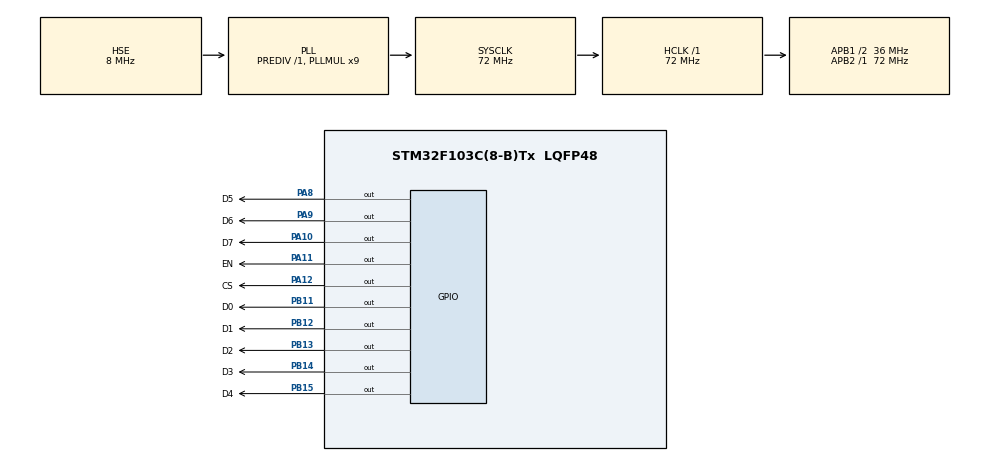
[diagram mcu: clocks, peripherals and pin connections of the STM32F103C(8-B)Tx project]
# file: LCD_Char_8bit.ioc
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Mcu.Family=STM32F1
RCC.PLLSourceVirtual=RCC_PLLSOURCE_HSE
PD1-OSC_OUT.Mode=HSE-External-Oscillator
PA9.GPIO_Label=D6
PB14.GPIO_Label=D3
PB11.GPIO_Label=D0
PA11.GPIO_Label=EN
PD0-OSC_IN.Signal=RCC_OSC_IN
RCC.APB1CLKDivider=RCC_HCLK_DIV2
PB13.GPIO_Label=D2
PB11.Signal=GPIO_Output
PB13.Signal=GPIO_Output
PB15.Signal=GPIO_Output
PA12.GPIO_Label=CS
RCC.SYSCLKSource=RCC_SYSCLKSOURCE_PLLCLK
ProjectManager.StackSize=0x400
PD1-OSC_OUT.Signal=RCC_OSC_OUT
PA13.Signal=SYS_JTMS-SWDIO
PA12.Signal=GPIO_Output
PA8.GPIO_Label=D5
ProjectManager.TargetToolchain=MDK-ARM V5
RCC.HCLKFreq_Value=72000000
RCC.APB2TimFreq_Value=72000000
PA9.Signal=GPIO_Output
RCC.USBFreq_Value=72000000
RCC.AHBFreq_Value=72000000
PD0-OSC_IN.Mode=HSE-External-Oscillator
PB14.Signal=GPIO_Output
board=custom
RCC.PLLMUL=RCC_PLL_MUL9
PB12.GPIO_Label=D1
RCC.APB2Freq_Value=72000000
PB15.GPIO_Label=D4
PA14.Mode=Serial_Wire
PA10.GPIO_Label=D7
PA8.Signal=GPIO_Output
PA13.Mode=Serial_Wire
Mcu.Name=STM32F103C(8-B)Tx
RCC.SYSCLKFreq_VALUE=72000000
Mcu.Package=LQFP48
PA11.Signal=GPIO_Output
PA10.Signal=GPIO_Output
PA14.Signal=SYS_JTCK-SWCLK
ProjectManager.HeapSize=0x200
NVIC.PriorityGroup=NVIC_PRIORITYGROUP_4
RCC.APB1TimFreq_Value=72000000
RCC.APB1Freq_Value=36000000
PB12.Signal=GPIO_Output

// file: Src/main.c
/* USER CODE BEGIN Header */
/**
  ******************************************************************************
  * @file           : main.c
  * @brief          : Main program body
  ******************************************************************************
  * @attention
  *
  * <h2><center>&copy; Copyright (c) 2020 STMicroelectronics.
  * All rights reserved.</center></h2>
  *
  * This software component is licensed by ST under BSD 3-Clause license,
  * the "License"; You may not use this file except in compliance with the
  * License. You may obtain a copy of the License at:
  *                        opensource.org/licenses/BSD-3-Clause
  *
  ******************************************************************************
  */
/* USER CODE END Header */

#include "main.h"

/* USER CODE BEGIN Includes */
//#include "CHAR_LCD_8BIT.h"
#include "../../lib/drivers/display/char_lcd/char_lcd.h"
#include <stdio.h>
/* USER CODE END Includes */

/* USER CODE BEGIN PV */
CHAR_LCD_Device LCD1;
uint8_t Count;
char LCD_send[16];
/* USER CODE END PV */

void SystemClock_Config(void);
static void MX_GPIO_Init(void);

int main(void)
{

  /* MCU Configuration--------------------------------------------------------*/

  /* Reset of all peripherals, Initializes the Flash interface and the Systick. */
  HAL_Init();

  /* Configure the system clock */
  SystemClock_Config();

  /* Initialize all configured peripherals */
  MX_GPIO_Init();
  /* USER CODE BEGIN 2 */
	CHAR_LCD_8BIT_Init(&LCD1, 16, 2, CS_GPIO_Port, CS_Pin, EN_GPIO_Port, EN_Pin,
									D0_GPIO_Port, D0_Pin, D1_GPIO_Port, D1_Pin,
									D2_GPIO_Port, D2_Pin, D3_GPIO_Port, D3_Pin,
									D4_GPIO_Port, D4_Pin, D5_GPIO_Port, D5_Pin,
									D6_GPIO_Port, D6_Pin, D7_GPIO_Port, D7_Pin);

  /* USER CODE END 2 */

  /* Infinite loop */
  while (1)
  {

    /* USER CODE BEGIN 3 */
		CHAR_LCD_SetCursor(&LCD1, 0, 0);
		CHAR_LCD_WriteString(&LCD1, "Khue Nguyen Creator");
		sprintf(LCD_send, "LCD Dem : %d", Count);
		CHAR_LCD_SetCursor(&LCD1, 0, 1);
		CHAR_LCD_WriteString(&LCD1, LCD_send);
		Count++;
		HAL_Delay(1000);
  }
  /* USER CODE END 3 */
}

void SystemClock_Config(void)
{
  RCC_OscInitTypeDef RCC_OscInitStruct = {0};
  RCC_ClkInitTypeDef RCC_ClkInitStruct = {0};

  /** Initializes the CPU, AHB and APB busses clocks
  */
  RCC_OscInitStruct.OscillatorType = RCC_OSCILLATORTYPE_HSE;
  RCC_OscInitStruct.HSEState = RCC_HSE_ON;
  RCC_OscInitStruct.HSEPredivValue = RCC_HSE_PREDIV_DIV1;
  RCC_OscInitStruct.HSIState = RCC_HSI_ON;
  RCC_OscInitStruct.PLL.PLLState = RCC_PLL_ON;
  RCC_OscInitStruct.PLL.PLLSource = RCC_PLLSOURCE_HSE;
  RCC_OscInitStruct.PLL.PLLMUL = RCC_PLL_MUL9;
  if (HAL_RCC_OscConfig(&RCC_OscInitStruct) != HAL_OK)
  {
    Error_Handler();
  }
  /** Initializes the CPU, AHB and APB busses clocks
  */
  RCC_ClkInitStruct.ClockType = RCC_CLOCKTYPE_HCLK|RCC_CLOCKTYPE_SYSCLK
                              |RCC_CLOCKTYPE_PCLK1|RCC_CLOCKTYPE_PCLK2;
  RCC_ClkInitStruct.SYSCLKSource = RCC_SYSCLKSOURCE_PLLCLK;
  RCC_ClkInitStruct.AHBCLKDivider = RCC_SYSCLK_DIV1;
  RCC_ClkInitStruct.APB1CLKDivider = RCC_HCLK_DIV2;
  RCC_ClkInitStruct.APB2CLKDivider = RCC_HCLK_DIV1;

  if (HAL_RCC_ClockConfig(&RCC_ClkInitStruct, FLASH_LATENCY_2) != HAL_OK)
  {
    Error_Handler();
  }
}

static void MX_GPIO_Init(void)
{
  GPIO_InitTypeDef GPIO_InitStruct = {0};

  /* GPIO Ports Clock Enable */
  __HAL_RCC_GPIOD_CLK_ENABLE();
  __HAL_RCC_GPIOB_CLK_ENABLE();
  __HAL_RCC_GPIOA_CLK_ENABLE();

  /*Configure GPIO pin Output Level */
  HAL_GPIO_WritePin(GPIOB, D0_Pin|D1_Pin|D2_Pin|D3_Pin
                          |D4_Pin, GPIO_PIN_RESET);

  /*Configure GPIO pin Output Level */
  HAL_GPIO_WritePin(GPIOA, D5_Pin|D6_Pin|D7_Pin|EN_Pin
                          |CS_Pin, GPIO_PIN_RESET);

  /*Configure GPIO pins : D0_Pin D1_Pin D2_Pin D3_Pin
                           D4_Pin */
  GPIO_InitStruct.Pin = D0_Pin|D1_Pin|D2_Pin|D3_Pin
                          |D4_Pin;
  GPIO_InitStruct.Mode = GPIO_MODE_OUTPUT_PP;
  GPIO_InitStruct.Pull = GPIO_NOPULL;
  GPIO_InitStruct.Speed = GPIO_SPEED_FREQ_LOW;
  HAL_GPIO_Init(GPIOB, &GPIO_InitStruct);

  /*Configure GPIO pins : D5_Pin D6_Pin D7_Pin EN_Pin
                           CS_Pin */
  GPIO_InitStruct.Pin = D5_Pin|D6_Pin|D7_Pin|EN_Pin
                          |CS_Pin;
  GPIO_InitStruct.Mode = GPIO_MODE_OUTPUT_PP;
  GPIO_InitStruct.Pull = GPIO_NOPULL;
  GPIO_InitStruct.Speed = GPIO_SPEED_FREQ_LOW;
  HAL_GPIO_Init(GPIOA, &GPIO_InitStruct);

}

void Error_Handler(void)
{
}

/************************ (C) COPYRIGHT STMicroelectronics *****END OF FILE****/
